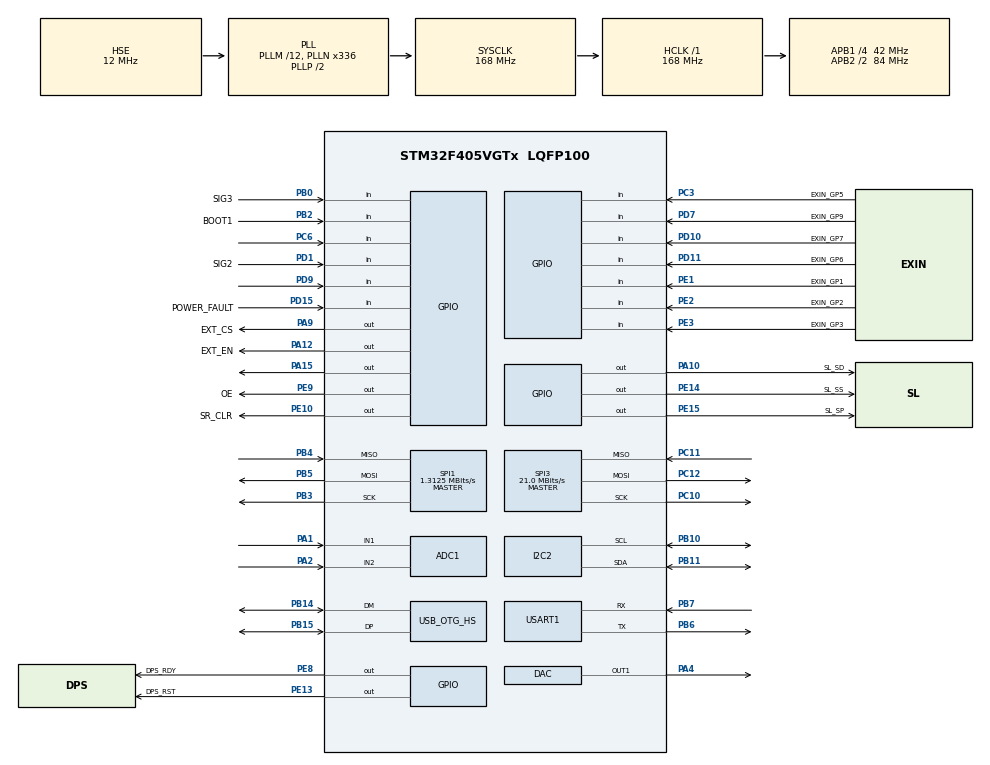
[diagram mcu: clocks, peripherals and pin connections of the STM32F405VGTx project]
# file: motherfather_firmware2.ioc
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ADC1.Channel-0\#ChannelRegularConversion=ADC_CHANNEL_1
ADC1.NbrOfConversionFlag=1
ADC1.Rank-0\#ChannelRegularConversion=1
ADC1.SamplingTime-0\#ChannelRegularConversion=ADC_SAMPLETIME_3CYCLES
ADC1.master=1
Mcu.Family=STM32F4
Mcu.Name=STM32F405VGTx
Mcu.Package=LQFP100
NVIC.OTG_HS_IRQn=true\:0\:0\:false\:false\:true\:false\:true\:true
NVIC.PriorityGroup=NVIC_PRIORITYGROUP_4
PA0-WKUP.Signal=S_TIM5_CH1
PA1.Signal=ADCx_IN1
PA10.GPIO_Label=SL_SD
PA10.GPIO_Speed=GPIO_SPEED_FREQ_LOW
PA10.Signal=GPIO_Output
PA12.GPIO_Label=EXT_EN
PA12.Signal=GPIO_Output
PA13.Signal=SYS_JTMS-SWDIO
PA14.Signal=SYS_JTCK-SWCLK
PA15.PinState=GPIO_PIN_SET
PA15.Signal=GPIO_Output
PA2.Signal=ADCx_IN2
PA4.Signal=COMP_DAC1_group
PA8.Signal=S_TIM1_CH1
PA9.GPIO_Label=EXT_CS
PA9.Signal=GPIO_Output
PB0.GPIO_Label=SIG3
PB0.Signal=GPIO_Input
PB10.GPIO_Pu=GPIO_NOPULL
PB10.Mode=I2C
PB10.Signal=I2C2_SCL
PB11.GPIO_Pu=GPIO_NOPULL
PB11.Mode=I2C
PB11.Signal=I2C2_SDA
PB14.Mode=Device_Only_FS
PB14.Signal=USB_OTG_HS_DM
PB15.Mode=Device_Only_FS
PB15.Signal=USB_OTG_HS_DP
PB2.GPIO_Label=BOOT1
PB2.Signal=GPIO_Input
PB3.Mode=Full_Duplex_Master
PB3.Signal=SPI1_SCK
PB4.GPIO_PuPd=GPIO_PULLUP
PB4.Mode=Full_Duplex_Master
PB4.Signal=SPI1_MISO
PB5.GPIO_PuPd=GPIO_NOPULL
PB5.Mode=Full_Duplex_Master
PB5.Signal=SPI1_MOSI
PB6.Mode=Asynchronous
PB6.Signal=USART1_TX
PB7.Mode=Asynchronous
PB7.Signal=USART1_RX
PC10.Mode=Full_Duplex_Master
PC10.Signal=SPI3_SCK
PC11.Mode=Full_Duplex_Master
PC11.Signal=SPI3_MISO
PC12.Mode=Full_Duplex_Master
PC12.Signal=SPI3_MOSI
PC14-OSC32_IN.Mode=LSE-External-Oscillator
PC14-OSC32_IN.Signal=RCC_OSC32_IN
PC15-OSC32_OUT.Mode=LSE-External-Oscillator
PC15-OSC32_OUT.Signal=RCC_OSC32_OUT
PC3.GPIO_Label=EXIN_GP5
PC3.Signal=GPIO_Input
PC6.Signal=GPIO_Input
PC9.Signal=S_TIM8_CH4
PD1.GPIO_Label=SIG2
PD1.Signal=GPIO_Input
PD10.GPIO_Label=EXIN_GP7
PD10.Signal=GPIO_Input
PD11.GPIO_Label=EXIN_GP6
PD11.Signal=GPIO_Input
PD15.GPIO_Label=POWER_FAULT
PD15.Signal=GPIO_Input
PD2.Signal=S_TIM3_ETR
PD7.GPIO_Label=EXIN_GP9
PD7.Signal=GPIO_Input
PD9.Signal=GPIO_Input
PE1.GPIO_Label=EXIN_GP1
PE1.Signal=GPIO_Input
PE10.GPIO_Label=SR_CLR
PE10.GPIO_PuPd=GPIO_PULLUP
PE10.PinState=GPIO_PIN_SET
PE10.Signal=GPIO_Output
PE13.GPIO_Label=DPS_RST
PE13.Signal=GPIO_Output
PE14.GPIO_Label=SL_SS
PE14.GPIO_Speed=GPIO_SPEED_FREQ_LOW
PE14.Signal=GPIO_Output
PE15.GPIO_Label=SL_SP
PE15.GPIO_Speed=GPIO_SPEED_FREQ_LOW
PE15.Signal=GPIO_Output
PE2.GPIO_Label=EXIN_GP2
PE2.Signal=GPIO_Input
PE3.GPIO_Label=EXIN_GP3
PE3.Signal=GPIO_Input
PE8.GPIO_Label=DPS_RDY
PE8.Signal=GPIO_Output
PE9.GPIO_Label=OE
PE9.GPIO_PuPd=GPIO_PULLDOWN
PE9.Signal=GPIO_Output
PH0-OSC_IN.Mode=HSE-External-Oscillator
PH0-OSC_IN.Signal=RCC_OSC_IN
PH1-OSC_OUT.Mode=HSE-External-Oscillator
PH1-OSC_OUT.Signal=RCC_OSC_OUT
ProjectManager.HeapSize=0x1000
ProjectManager.StackSize=0x800
ProjectManager.TargetToolchain=STM32CubeIDE
RCC.48MHZClocksFreq_Value=48000000
RCC.AHBFreq_Value=168000000
RCC.APB1CLKDivider=RCC_HCLK_DIV4
RCC.APB1Freq_Value=42000000
RCC.APB1TimFreq_Value=84000000
RCC.APB2CLKDivider=RCC_HCLK_DIV2
RCC.APB2Freq_Value=84000000
RCC.APB2TimFreq_Value=168000000
RCC.CortexFreq_Value=168000000
RCC.HCLKFreq_Value=168000000
RCC.HSE_VALUE=12000000
RCC.HSI_VALUE=16000000
RCC.PLLM=12
RCC.PLLN=336
RCC.PLLQ=7
RCC.SYSCLKFreq_VALUE=168000000
RCC.SYSCLKSource=RCC_SYSCLKSOURCE_PLLCLK
RCC.VCOOutputFreq_Value=336000000
SH.ADCx_IN1.0=ADC1_IN1,IN1
SH.ADCx_IN2.0=ADC1_IN2,IN2
SH.COMP_DAC1_group.0=DAC_OUT1,DAC_OUT1
SH.S_TIM1_CH1.0=TIM1_CH1
SH.S_TIM3_ETR.0=TIM3_ETR
SH.S_TIM5_CH1.0=TIM5_CH1
SH.S_TIM8_CH4.0=TIM8_CH4
SPI1.BaudRatePrescaler=SPI_BAUDRATEPRESCALER_64
SPI1.CLKPolarity=SPI_POLARITY_HIGH
SPI1.CalculateBaudRate=1.3125 MBits/s
SPI1.Direction=SPI_DIRECTION_2LINES
SPI1.Mode=SPI_MODE_MASTER
SPI1.VirtualType=VM_MASTER
SPI3.BaudRatePrescaler=SPI_BAUDRATEPRESCALER_2
SPI3.CalculateBaudRate=21.0 MBits/s
SPI3.Direction=SPI_DIRECTION_2LINES
SPI3.Mode=SPI_MODE_MASTER
SPI3.VirtualType=VM_MASTER
USART1.VirtualMode=VM_ASYNC
USB_DEVICE.CLASS_NAME_HS=CDC
USB_DEVICE.VirtualMode-CDC_HS=Cdc
USB_DEVICE.VirtualModeHS=Cdc_HS
USB_OTG_HS.VirtualMode-Device_Only_FS=Device_Only_FS
VP_USB_DEVICE_VS_USB_DEVICE_CDC_HS.Mode=CDC_HS
board=custom

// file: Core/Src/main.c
/* USER CODE BEGIN Header */
/**
  ******************************************************************************
  * @file           : main.c
  * @brief          : Main program body
  ******************************************************************************
  * @attention
  *
  * Copyright (c) 2022 STMicroelectronics.
  * All rights reserved.
  *
  * This software is licensed under terms that can be found in the LICENSE file
  * in the root directory of this software component.
  * If no LICENSE file comes with this software, it is provided AS-IS.
  *
  ******************************************************************************
  */
/* USER CODE END Header */
#include "main.h"
#include "usb_device.h"

/* USER CODE BEGIN Includes */
#include "stdio.h"
#include "stm32f4xx_hal.h"
//#include "selector.h"
#include "string.h"
#include "usbd_cdc_if.h"
#include "sht3x.h"
#include "LPS22HB.h"
#include "Pc_Comm_App.h"
/* USER CODE END Includes */

ADC_HandleTypeDef hadc1;

DAC_HandleTypeDef hdac;

I2C_HandleTypeDef hi2c2;

SPI_HandleTypeDef hspi1;
SPI_HandleTypeDef hspi3;

UART_HandleTypeDef huart1;

/* USER CODE BEGIN PV */
LPS22HB_t lps22hb;
sht3x_handle_t sht3x;
/* USER CODE END PV */

void SystemClock_Config(void);
static void MX_GPIO_Init(void);
static void MX_ADC1_Init(void);
static void MX_DAC_Init(void);
static void MX_SPI3_Init(void);
static void MX_SPI1_Init(void);
static void MX_USART1_UART_Init(void);
static void MX_I2C2_Init(void);
/* USER CODE BEGIN PFP */
void SystemClock_Config(void);
static void MX_GPIO_Init(void);
static void MX_DMA_Init(void);
static void MX_ADC1_Init(void);
static void MX_DAC_Init(void);
static void MX_SPI3_Init(void);
static void MX_SPI1_Init(void);
static void MX_USART1_UART_Init(void);
static void MX_I2C2_Init(void);
extern int pcap04_results[8];
double capacitance[6];
char capacitancesString[6][100];

/* USER CODE END PFP */

int main(void)
{
  /* USER CODE BEGIN 1 */
  //int i = 0;
  /* USER CODE END 1 */

  /* MCU Configuration--------------------------------------------------------*/

  /* Reset of all peripherals, Initializes the Flash interface and the Systick. */
  HAL_Init();

  /* Configure the system clock */
  SystemClock_Config();

  /* Initialize all configured peripherals */
  MX_GPIO_Init();
  MX_ADC1_Init();
  MX_DAC_Init();
  MX_SPI3_Init();
  MX_USB_DEVICE_Init();
  MX_SPI1_Init();
  MX_USART1_UART_Init();
  MX_I2C2_Init();
  /* USER CODE BEGIN 2 */

 /* Initializing system */
  sensors_init();
  for (int pcap04Unit = 1; pcap04Unit < 65; pcap04Unit++){
  	  setAllSelectors();

  	  pcap04_initialization(pcap04Unit);

    }

  /* USER CODE END 2 */

  /* Infinite loop */
  /* USER CODE BEGIN WHILE */

  while (1)
  {

// Until usbBufferproccessing all code is for debugging purposes only

//	  int pcap04Unit = 24;

/*********** Sensor Loop check **************/
	  // Read temperature and humidity from sht3x.
/*
	  float temperature, humidity, pressure;
	  sht3x_read_temperature_and_humidity(&sht3x, &temperature, &humidity);
	  LPS22HB_Get_Pressure(&lps22hb.pressure);
	  HAL_Delay(100);
	  char temp_string[100], humid_string[100], pressure_string[100];
	  char *tmpSign = (temperature < 0) ? "-" : "";
	  float tmpVal = (temperature < 0) ? -temperature : temperature;

	  int tmpInt1 = tmpVal;                  // Get the integer (678).
	  float tmpFrac = tmpVal - tmpInt1;      // Get fraction (0.0123).
	  int tmpInt2 = trunc(tmpFrac * 10000);  // Turn into integer (123).

	  // Converting temp, humid and pressure floats to strings
	  gcvt(temperature, 6, temp_string);
	  gcvt(humidity, 6, humid_string);
	  gcvt(pressure, 6, pressure_string);

	  // Read measurements from LPS22HB
	  LPS22HB_Update_Data(&lps22hb);
*/

/*********** PCAP04 check Loop **************/
/*

	for( uint8_t test_index = 0 ; test_index < 3 ; test_index++ )
	{
		if( pcap04_read_test(pcap04Unit) == true )
			break;
	}

	  uint8_t reg0 = pcap04_read_configuration(0, pcap04Unit);
	  pcap04_read_results(pcap04Unit);
	  parseResults(pcap04_results, capacitance);

	  for(int i=0; i < 6; i++){

		  gcvt(capacitance[i], 15, capacitancesString[i]);

		 }

*/
/*********** USB Processing Loop **************/
	  usbBufferProcessing();
	  HAL_Delay(100);

    /* USER CODE END WHILE */

  }
}

void SystemClock_Config(void)
{
  RCC_OscInitTypeDef RCC_OscInitStruct = {0};
  RCC_ClkInitTypeDef RCC_ClkInitStruct = {0};

  /** Configure the main internal regulator output voltage
  */
  __HAL_RCC_PWR_CLK_ENABLE();
  __HAL_PWR_VOLTAGESCALING_CONFIG(PWR_REGULATOR_VOLTAGE_SCALE1);

  /** Initializes the RCC Oscillators according to the specified parameters
  * in the RCC_OscInitTypeDef structure.
  */
  RCC_OscInitStruct.OscillatorType = RCC_OSCILLATORTYPE_HSE;
  RCC_OscInitStruct.HSEState = RCC_HSE_ON;
  RCC_OscInitStruct.PLL.PLLState = RCC_PLL_ON;
  RCC_OscInitStruct.PLL.PLLSource = RCC_PLLSOURCE_HSE;
  RCC_OscInitStruct.PLL.PLLM = 12;
  RCC_OscInitStruct.PLL.PLLN = 336;
  RCC_OscInitStruct.PLL.PLLP = RCC_PLLP_DIV2;
  RCC_OscInitStruct.PLL.PLLQ = 7;
  if (HAL_RCC_OscConfig(&RCC_OscInitStruct) != HAL_OK)
  {
    Error_Handler();
  }

  /** Initializes the CPU, AHB and APB buses clocks
  */
  RCC_ClkInitStruct.ClockType = RCC_CLOCKTYPE_HCLK|RCC_CLOCKTYPE_SYSCLK
                              |RCC_CLOCKTYPE_PCLK1|RCC_CLOCKTYPE_PCLK2;
  RCC_ClkInitStruct.SYSCLKSource = RCC_SYSCLKSOURCE_PLLCLK;
  RCC_ClkInitStruct.AHBCLKDivider = RCC_SYSCLK_DIV1;
  RCC_ClkInitStruct.APB1CLKDivider = RCC_HCLK_DIV4;
  RCC_ClkInitStruct.APB2CLKDivider = RCC_HCLK_DIV2;

  if (HAL_RCC_ClockConfig(&RCC_ClkInitStruct, FLASH_LATENCY_5) != HAL_OK)
  {
    Error_Handler();
  }
}

static void MX_ADC1_Init(void)
{

  ADC_ChannelConfTypeDef sConfig = {0};

  /** Configure the global features of the ADC (Clock, Resolution, Data Alignment and number of conversion)
  */
  hadc1.Instance = ADC1;
  hadc1.Init.ClockPrescaler = ADC_CLOCK_SYNC_PCLK_DIV4;
  hadc1.Init.Resolution = ADC_RESOLUTION_12B;
  hadc1.Init.ScanConvMode = DISABLE;
  hadc1.Init.ContinuousConvMode = DISABLE;
  hadc1.Init.DiscontinuousConvMode = DISABLE;
  hadc1.Init.ExternalTrigConvEdge = ADC_EXTERNALTRIGCONVEDGE_NONE;
  hadc1.Init.ExternalTrigConv = ADC_SOFTWARE_START;
  hadc1.Init.DataAlign = ADC_DATAALIGN_RIGHT;
  hadc1.Init.NbrOfConversion = 1;
  hadc1.Init.DMAContinuousRequests = DISABLE;
  hadc1.Init.EOCSelection = ADC_EOC_SINGLE_CONV;
  if (HAL_ADC_Init(&hadc1) != HAL_OK)
  {
    Error_Handler();
  }

  /** Configure for the selected ADC regular channel its corresponding rank in the sequencer and its sample time.
  */
  sConfig.Channel = ADC_CHANNEL_1;
  sConfig.Rank = 1;
  sConfig.SamplingTime = ADC_SAMPLETIME_3CYCLES;
  if (HAL_ADC_ConfigChannel(&hadc1, &sConfig) != HAL_OK)
  {
    Error_Handler();
  }

}

static void MX_DAC_Init(void)
{

  DAC_ChannelConfTypeDef sConfig = {0};

  /** DAC Initialization
  */
  hdac.Instance = DAC;
  if (HAL_DAC_Init(&hdac) != HAL_OK)
  {
    Error_Handler();
  }

  /** DAC channel OUT1 config
  */
  sConfig.DAC_Trigger = DAC_TRIGGER_NONE;
  sConfig.DAC_OutputBuffer = DAC_OUTPUTBUFFER_ENABLE;
  if (HAL_DAC_ConfigChannel(&hdac, &sConfig, DAC_CHANNEL_1) != HAL_OK)
  {
    Error_Handler();
  }

}

static void MX_I2C2_Init(void)
{

  hi2c2.Instance = I2C2;
  hi2c2.Init.ClockSpeed = 100000;
  hi2c2.Init.DutyCycle = I2C_DUTYCYCLE_2;
  hi2c2.Init.OwnAddress1 = 0;
  hi2c2.Init.AddressingMode = I2C_ADDRESSINGMODE_7BIT;
  hi2c2.Init.DualAddressMode = I2C_DUALADDRESS_DISABLE;
  hi2c2.Init.OwnAddress2 = 0;
  hi2c2.Init.GeneralCallMode = I2C_GENERALCALL_DISABLE;
  hi2c2.Init.NoStretchMode = I2C_NOSTRETCH_DISABLE;
  if (HAL_I2C_Init(&hi2c2) != HAL_OK)
  {
    Error_Handler();
  }

}

static void MX_SPI1_Init(void)
{

  /* SPI1 parameter configuration*/
  hspi1.Instance = SPI1;
  hspi1.Init.Mode = SPI_MODE_MASTER;
  hspi1.Init.Direction = SPI_DIRECTION_2LINES;
  hspi1.Init.DataSize = SPI_DATASIZE_8BIT;
  hspi1.Init.CLKPolarity = SPI_POLARITY_HIGH;
  hspi1.Init.CLKPhase = SPI_PHASE_1EDGE;
  hspi1.Init.NSS = SPI_NSS_SOFT;
  hspi1.Init.BaudRatePrescaler = SPI_BAUDRATEPRESCALER_64;
  hspi1.Init.FirstBit = SPI_FIRSTBIT_MSB;
  hspi1.Init.TIMode = SPI_TIMODE_DISABLE;
  hspi1.Init.CRCCalculation = SPI_CRCCALCULATION_DISABLE;
  hspi1.Init.CRCPolynomial = 10;
  if (HAL_SPI_Init(&hspi1) != HAL_OK)
  {
    Error_Handler();
  }

}

static void MX_SPI3_Init(void)
{

  /* SPI3 parameter configuration*/
  hspi3.Instance = SPI3;
  hspi3.Init.Mode = SPI_MODE_MASTER;
  hspi3.Init.Direction = SPI_DIRECTION_2LINES;
  hspi3.Init.DataSize = SPI_DATASIZE_8BIT;
  hspi3.Init.CLKPolarity = SPI_POLARITY_LOW;
  hspi3.Init.CLKPhase = SPI_PHASE_1EDGE;
  hspi3.Init.NSS = SPI_NSS_SOFT;
  hspi3.Init.BaudRatePrescaler = SPI_BAUDRATEPRESCALER_2;
  hspi3.Init.FirstBit = SPI_FIRSTBIT_MSB;
  hspi3.Init.TIMode = SPI_TIMODE_DISABLE;
  hspi3.Init.CRCCalculation = SPI_CRCCALCULATION_DISABLE;
  hspi3.Init.CRCPolynomial = 10;
  if (HAL_SPI_Init(&hspi3) != HAL_OK)
  {
    Error_Handler();
  }

}

static void MX_USART1_UART_Init(void)
{

  huart1.Instance = USART1;
  huart1.Init.BaudRate = 115200;
  huart1.Init.WordLength = UART_WORDLENGTH_8B;
  huart1.Init.StopBits = UART_STOPBITS_1;
  huart1.Init.Parity = UART_PARITY_NONE;
  huart1.Init.Mode = UART_MODE_TX_RX;
  huart1.Init.HwFlowCtl = UART_HWCONTROL_NONE;
  huart1.Init.OverSampling = UART_OVERSAMPLING_16;
  if (HAL_UART_Init(&huart1) != HAL_OK)
  {
    Error_Handler();
  }

}

static void MX_GPIO_Init(void)
{
  GPIO_InitTypeDef GPIO_InitStruct = {0};

  /* GPIO Ports Clock Enable */
  __HAL_RCC_GPIOE_CLK_ENABLE();
  __HAL_RCC_GPIOC_CLK_ENABLE();
  __HAL_RCC_GPIOH_CLK_ENABLE();
  __HAL_RCC_GPIOA_CLK_ENABLE();
  __HAL_RCC_GPIOB_CLK_ENABLE();
  __HAL_RCC_GPIOD_CLK_ENABLE();

  /*Configure GPIO pin Output Level */
  HAL_GPIO_WritePin(GPIOE, DPS_RDY_Pin|OE_Pin|DPS_RST_Pin|SL_SS_Pin
                          |SL_SP_Pin, GPIO_PIN_RESET);

  /*Configure GPIO pin Output Level */
  HAL_GPIO_WritePin(SR_CLR_GPIO_Port, SR_CLR_Pin, GPIO_PIN_SET);

  /*Configure GPIO pin Output Level */
  HAL_GPIO_WritePin(GPIOA, EXT_CS_Pin|SL_SD_Pin|EXT_EN_Pin, GPIO_PIN_RESET);

  /*Configure GPIO pin Output Level */
  HAL_GPIO_WritePin(GPIOA, GPIO_PIN_15, GPIO_PIN_SET);

  /*Configure GPIO pins : EXIN_GP2_Pin EXIN_GP3_Pin EXIN_GP1_Pin */
  GPIO_InitStruct.Pin = EXIN_GP2_Pin|EXIN_GP3_Pin|EXIN_GP1_Pin;
  GPIO_InitStruct.Mode = GPIO_MODE_INPUT;
  GPIO_InitStruct.Pull = GPIO_NOPULL;
  HAL_GPIO_Init(GPIOE, &GPIO_InitStruct);

  /*Configure GPIO pins : EXIN_GP5_Pin PC6 */
  GPIO_InitStruct.Pin = EXIN_GP5_Pin|GPIO_PIN_6;
  GPIO_InitStruct.Mode = GPIO_MODE_INPUT;
  GPIO_InitStruct.Pull = GPIO_NOPULL;
  HAL_GPIO_Init(GPIOC, &GPIO_InitStruct);

  /*Configure GPIO pin : PA0 */
  GPIO_InitStruct.Pin = GPIO_PIN_0;
  GPIO_InitStruct.Mode = GPIO_MODE_AF_PP;
  GPIO_InitStruct.Pull = GPIO_NOPULL;
  GPIO_InitStruct.Speed = GPIO_SPEED_FREQ_LOW;
  GPIO_InitStruct.Alternate = GPIO_AF2_TIM5;
  HAL_GPIO_Init(GPIOA, &GPIO_InitStruct);

  /*Configure GPIO pins : SIG3_Pin BOOT1_Pin */
  GPIO_InitStruct.Pin = SIG3_Pin|BOOT1_Pin;
  GPIO_InitStruct.Mode = GPIO_MODE_INPUT;
  GPIO_InitStruct.Pull = GPIO_NOPULL;
  HAL_GPIO_Init(GPIOB, &GPIO_InitStruct);

  /*Configure GPIO pins : DPS_RDY_Pin DPS_RST_Pin SL_SS_Pin SL_SP_Pin */
  GPIO_InitStruct.Pin = DPS_RDY_Pin|DPS_RST_Pin|SL_SS_Pin|SL_SP_Pin;
  GPIO_InitStruct.Mode = GPIO_MODE_OUTPUT_PP;
  GPIO_InitStruct.Pull = GPIO_NOPULL;
  GPIO_InitStruct.Speed = GPIO_SPEED_FREQ_LOW;
  HAL_GPIO_Init(GPIOE, &GPIO_InitStruct);

  /*Configure GPIO pin : OE_Pin */
  GPIO_InitStruct.Pin = OE_Pin;
  GPIO_InitStruct.Mode = GPIO_MODE_OUTPUT_PP;
  GPIO_InitStruct.Pull = GPIO_PULLDOWN;
  GPIO_InitStruct.Speed = GPIO_SPEED_FREQ_LOW;
  HAL_GPIO_Init(OE_GPIO_Port, &GPIO_InitStruct);

  /*Configure GPIO pin : SR_CLR_Pin */
  GPIO_InitStruct.Pin = SR_CLR_Pin;
  GPIO_InitStruct.Mode = GPIO_MODE_OUTPUT_PP;
  GPIO_InitStruct.Pull = GPIO_PULLUP;
  GPIO_InitStruct.Speed = GPIO_SPEED_FREQ_LOW;
  HAL_GPIO_Init(SR_CLR_GPIO_Port, &GPIO_InitStruct);

  /*Configure GPIO pins : PD9 EXIN_GP7_Pin EXIN_GP6_Pin POWER_FAULT_Pin
                           SIG2_Pin EXIN_GP9_Pin */
  GPIO_InitStruct.Pin = GPIO_PIN_9|EXIN_GP7_Pin|EXIN_GP6_Pin|POWER_FAULT_Pin
                          |SIG2_Pin|EXIN_GP9_Pin;
  GPIO_InitStruct.Mode = GPIO_MODE_INPUT;
  GPIO_InitStruct.Pull = GPIO_NOPULL;
  HAL_GPIO_Init(GPIOD, &GPIO_InitStruct);

  /*Configure GPIO pin : PC9 */
  GPIO_InitStruct.Pin = GPIO_PIN_9;
  GPIO_InitStruct.Mode = GPIO_MODE_AF_PP;
  GPIO_InitStruct.Pull = GPIO_NOPULL;
  GPIO_InitStruct.Speed = GPIO_SPEED_FREQ_LOW;
  GPIO_InitStruct.Alternate = GPIO_AF3_TIM8;
  HAL_GPIO_Init(GPIOC, &GPIO_InitStruct);

  /*Configure GPIO pin : PA8 */
  GPIO_InitStruct.Pin = GPIO_PIN_8;
  GPIO_InitStruct.Mode = GPIO_MODE_AF_PP;
  GPIO_InitStruct.Pull = GPIO_NOPULL;
  GPIO_InitStruct.Speed = GPIO_SPEED_FREQ_LOW;
  GPIO_InitStruct.Alternate = GPIO_AF1_TIM1;
  HAL_GPIO_Init(GPIOA, &GPIO_InitStruct);

  /*Configure GPIO pins : EXT_CS_Pin SL_SD_Pin EXT_EN_Pin PA15 */
  GPIO_InitStruct.Pin = EXT_CS_Pin|SL_SD_Pin|EXT_EN_Pin|GPIO_PIN_15;
  GPIO_InitStruct.Mode = GPIO_MODE_OUTPUT_PP;
  GPIO_InitStruct.Pull = GPIO_NOPULL;
  GPIO_InitStruct.Speed = GPIO_SPEED_FREQ_LOW;
  HAL_GPIO_Init(GPIOA, &GPIO_InitStruct);

  /*Configure GPIO pin : PD2 */
  GPIO_InitStruct.Pin = GPIO_PIN_2;
  GPIO_InitStruct.Mode = GPIO_MODE_AF_PP;
  GPIO_InitStruct.Pull = GPIO_NOPULL;
  GPIO_InitStruct.Speed = GPIO_SPEED_FREQ_LOW;
  GPIO_InitStruct.Alternate = GPIO_AF2_TIM3;
  HAL_GPIO_Init(GPIOD, &GPIO_InitStruct);

}

/* USER CODE BEGIN 4 */
/**
  * @brief  This function initializing Sensors
  * @retval None
  */
void sensors_init()
{
	  /* LPS22HB DPS Initialize */
	  LPS22HB_Set_Handle(&lps22hb, &hi2c2);
	  LPS22HB_Set_Address(&lps22hb, LPS22HB_ADDR_L);
	  LPS22HB_Init(&lps22hb, LPS22HB_ODR_75HZ);
	  LPS22HB_Set_FIFO(&lps22hb, LPS22HB_FIFO_ENABLE, LPS22HB_FIFOMODE_STREAM);

		/* SHT3x TEMP+HUMID Initialize */
	  // Create the handle for the sensor.
	  SHT3X_Set_Handle(&sht3x, &hi2c2);
	  SHT3X_Set_Address(&sht3x, SHT3X_I2C_DEVICE_ADDRESS_ADDR_PIN_HIGH);
	  HAL_Delay(10);
	  if (!sht3x_init(&sht3x)) {
	      printf("SHT3x access failed.\n\r");
	  }
}

/* USER CODE END 4 */

void Error_Handler(void)
{
  __disable_irq();
  while (1)
  {
  }
}
